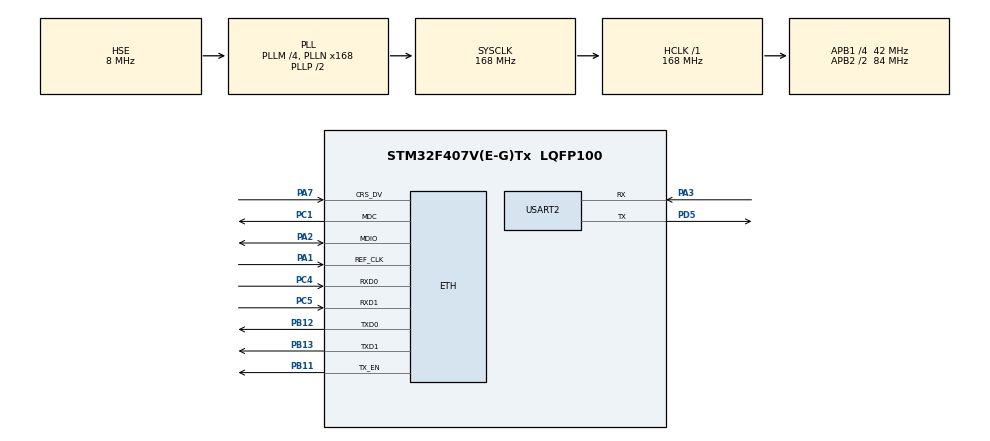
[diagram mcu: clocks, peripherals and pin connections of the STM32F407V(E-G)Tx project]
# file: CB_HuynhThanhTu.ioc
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ETH.MediaInterface=HAL_ETH_RMII_MODE
ETH.RxMode=ETH_RXINTERRUPT_MODE
FREERTOS.Tasks01=defaultTask,0,128,StartDefaultTask,Default,NULL,Dynamic,NULL,NULL
FREERTOS.configCHECK_FOR_STACK_OVERFLOW=2
FREERTOS.configENABLE_FPU=1
FREERTOS.configTOTAL_HEAP_SIZE=50000
LWIP.BSP.number=1
LWIP.CHECKSUM_BY_HARDWARE=0
LWIP.LWIP_DNS=1
LWIP.Version=v2.1.2_Cube
LWIP0.BSP.STBoard=false
LWIP0.BSP.api=BSP_COMPONENT_DRIVER
LWIP0.BSP.component=LAN8742
LWIP0.BSP.instance=LAN8742
LWIP0.BSP.name=Driver_PHY
LWIP0.BSP.semaphore=S_LAN8742
LWIP0.BSP.solution=LAN8742
Mcu.Family=STM32F4
Mcu.Name=STM32F407V(E-G)Tx
Mcu.Package=LQFP100
NVIC.ETH_IRQn=true\:5\:0\:false\:false\:true\:true\:false\:true\:true
NVIC.PriorityGroup=NVIC_PRIORITYGROUP_4
PA1.Mode=RMII
PA1.Signal=ETH_REF_CLK
PA13.Mode=Serial_Wire
PA13.Signal=SYS_JTMS-SWDIO
PA14.Mode=Serial_Wire
PA14.Signal=SYS_JTCK-SWCLK
PA2.Mode=RMII
PA2.Signal=ETH_MDIO
PA3.Mode=Asynchronous
PA3.Signal=USART2_RX
PA7.Mode=RMII
PA7.Signal=ETH_CRS_DV
PB11.Mode=RMII
PB11.Signal=ETH_TX_EN
PB12.Mode=RMII
PB12.Signal=ETH_TXD0
PB13.Mode=RMII
PB13.Signal=ETH_TXD1
PC1.Mode=RMII
PC1.Signal=ETH_MDC
PC4.Mode=RMII
PC4.Signal=ETH_RXD0
PC5.Mode=RMII
PC5.Signal=ETH_RXD1
PD5.Mode=Asynchronous
PD5.Signal=USART2_TX
PH0-OSC_IN.Mode=HSE-External-Oscillator
PH0-OSC_IN.Signal=RCC_OSC_IN
PH1-OSC_OUT.Mode=HSE-External-Oscillator
PH1-OSC_OUT.Signal=RCC_OSC_OUT
ProjectManager.HeapSize=0x200
ProjectManager.StackSize=0x400
ProjectManager.TargetToolchain=STM32CubeIDE
RCC.48MHZClocksFreq_Value=48000000
RCC.AHBFreq_Value=168000000
RCC.APB1CLKDivider=RCC_HCLK_DIV4
RCC.APB1Freq_Value=42000000
RCC.APB1TimFreq_Value=84000000
RCC.APB2CLKDivider=RCC_HCLK_DIV2
RCC.APB2Freq_Value=84000000
RCC.APB2TimFreq_Value=168000000
RCC.CortexFreq_Value=168000000
RCC.HCLKFreq_Value=168000000
RCC.HSE_VALUE=8000000
RCC.HSI_VALUE=16000000
RCC.LSE_VALUE=32768
RCC.PLLM=4
RCC.PLLN=168
RCC.PLLQ=7
RCC.PLLSourceVirtual=RCC_PLLSOURCE_HSE
RCC.SYSCLKFreq_VALUE=168000000
RCC.SYSCLKSource=RCC_SYSCLKSOURCE_PLLCLK
RCC.VCOOutputFreq_Value=336000000
USART2.VirtualMode=VM_ASYNC
VP_FREERTOS_VS_CMSIS_V1.Mode=CMSIS_V1
VP_LWIP_VS_Enabled.Mode=Enabled
VP_MBEDTLS_VS_MBEDTLS.Mode=Enabled
VP_RNG_VS_RNG.Mode=RNG_Activate
board=custom

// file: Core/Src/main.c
/* USER CODE BEGIN Header */
/**
  ******************************************************************************
  * @file           : main.c
  * @brief          : Main program body
  ******************************************************************************
  * @attention
  *
  * Copyright (c) 2025 STMicroelectronics.
  * All rights reserved.
  *
  * This software is licensed under terms that can be found in the LICENSE file
  * in the root directory of this software component.
  * If no LICENSE file comes with this software, it is provided AS-IS.
  *
  ******************************************************************************
  */
/* USER CODE END Header */
#include "main.h"
#include "cmsis_os.h"
#include "mbedtls.h"

/* USER CODE BEGIN Includes */
#include "stdio.h"
#include "string.h"
#include "config.h"
#include "mbedtls_config.h"
/* USER CODE END Includes */

RNG_HandleTypeDef hrng;

//TIM_HandleTypeDef htim6;

UART_HandleTypeDef huart2;

/* USER CODE BEGIN PV */
extern osThreadId defaultTaskHandle;
extern uint32_t MilliTimer;
/* USER CODE END PV */

void SystemClock_Config(void);
static void MX_GPIO_Init(void);
static void MX_RNG_Init(void);
static void MX_USART2_UART_Init(void);
//static void MX_TIM6_Init(void);
void StartDefaultTask(void const * argument);

/* USER CODE BEGIN PFP */
void MX_FREERTOS_Init(void);
/* USER CODE END PFP */

/* USER CODE BEGIN 0 */
int _write(int fd, char * ptr, int len) {
    	HAL_UART_Transmit(&huart2, (uint8_t *) ptr, len, HAL_MAX_DELAY);
return len;
}

/* USER CODE END 0 */

int main(void)
{

  /* MCU Configuration--------------------------------------------------------*/

  /* Reset of all peripherals, Initializes the Flash interface and the Systick. */
  HAL_Init();

  /* Configure the system clock */
  SystemClock_Config();

  /* Initialize all configured peripherals */
  MX_GPIO_Init();
  MX_RNG_Init();
  MX_USART2_UART_Init();
  //MX_TIM6_Init();
  /* Call PreOsInit function */
  MX_MBEDTLS_Init();
  /* USER CODE BEGIN 2 */
  printf("Don't remove this printf to prevent hard fault.\r\n");
  MX_FREERTOS_Init();
  osKernelStart();
  /* USER CODE END 2 */

  /* Create the thread(s) */
  /* definition and creation of defaultTask */
//  osThreadDef(defaultTask, StartDefaultTask, osPriorityNormal, 0, 2048);
//  defaultTaskHandle = osThreadCreate(osThread(defaultTask), NULL);

  /* Start scheduler */
 // osKernelStart();

  /* We should never get here as control is now taken by the scheduler */

  /* Infinite loop */
  while (1)
  {

  }
}

void SystemClock_Config(void)
{
  RCC_OscInitTypeDef RCC_OscInitStruct = {0};
  RCC_ClkInitTypeDef RCC_ClkInitStruct = {0};

  /** Configure the main internal regulator output voltage
  */
  __HAL_RCC_PWR_CLK_ENABLE();
  __HAL_PWR_VOLTAGESCALING_CONFIG(PWR_REGULATOR_VOLTAGE_SCALE1);

  /** Initializes the RCC Oscillators according to the specified parameters
  * in the RCC_OscInitTypeDef structure.
  */
  RCC_OscInitStruct.OscillatorType = RCC_OSCILLATORTYPE_HSE;
  RCC_OscInitStruct.HSEState = RCC_HSE_ON;
  RCC_OscInitStruct.PLL.PLLState = RCC_PLL_ON;
  RCC_OscInitStruct.PLL.PLLSource = RCC_PLLSOURCE_HSE;
  RCC_OscInitStruct.PLL.PLLM = 4;
  RCC_OscInitStruct.PLL.PLLN = 168;
  RCC_OscInitStruct.PLL.PLLP = RCC_PLLP_DIV2;
  RCC_OscInitStruct.PLL.PLLQ = 7;
  if (HAL_RCC_OscConfig(&RCC_OscInitStruct) != HAL_OK)
  {
    Error_Handler();
  }

  /** Initializes the CPU, AHB and APB buses clocks
  */
  RCC_ClkInitStruct.ClockType = RCC_CLOCKTYPE_HCLK|RCC_CLOCKTYPE_SYSCLK
                              |RCC_CLOCKTYPE_PCLK1|RCC_CLOCKTYPE_PCLK2;
  RCC_ClkInitStruct.SYSCLKSource = RCC_SYSCLKSOURCE_PLLCLK;
  RCC_ClkInitStruct.AHBCLKDivider = RCC_SYSCLK_DIV1;
  RCC_ClkInitStruct.APB1CLKDivider = RCC_HCLK_DIV4;
  RCC_ClkInitStruct.APB2CLKDivider = RCC_HCLK_DIV2;

  if (HAL_RCC_ClockConfig(&RCC_ClkInitStruct, FLASH_LATENCY_5) != HAL_OK)
  {
    Error_Handler();
  }
}

static void MX_RNG_Init(void)
{

  hrng.Instance = RNG;
  if (HAL_RNG_Init(&hrng) != HAL_OK)
  {
    Error_Handler();
  }

}

//static void MX_TIM6_Init(void)
//{
//
//  /* USER CODE BEGIN TIM6_Init 0 */
//
//  /* USER CODE END TIM6_Init 0 */
//
//  TIM_MasterConfigTypeDef sMasterConfig = {0};
//
//  /* USER CODE BEGIN TIM6_Init 1 */
//
//  /* USER CODE END TIM6_Init 1 */
//  htim6.Instance = TIM6;
//  htim6.Init.Prescaler = 0;
//  htim6.Init.CounterMode = TIM_COUNTERMODE_UP;
//  htim6.Init.Period = 65535;
//  htim6.Init.AutoReloadPreload = TIM_AUTORELOAD_PRELOAD_DISABLE;
//  if (HAL_TIM_Base_Init(&htim6) != HAL_OK)
//  {
//    Error_Handler();
//  }
//  sMasterConfig.MasterOutputTrigger = TIM_TRGO_RESET;
//  sMasterConfig.MasterSlaveMode = TIM_MASTERSLAVEMODE_DISABLE;
//  if (HAL_TIMEx_MasterConfigSynchronization(&htim6, &sMasterConfig) != HAL_OK)
//  {
//    Error_Handler();
//  }
//  /* USER CODE BEGIN TIM6_Init 2 */
//
//  /* USER CODE END TIM6_Init 2 */
//
//}

static void MX_USART2_UART_Init(void)
{

  huart2.Instance = USART2;
  huart2.Init.BaudRate = 115200;
  huart2.Init.WordLength = UART_WORDLENGTH_8B;
  huart2.Init.StopBits = UART_STOPBITS_1;
  huart2.Init.Parity = UART_PARITY_NONE;
  huart2.Init.Mode = UART_MODE_TX_RX;
  huart2.Init.HwFlowCtl = UART_HWCONTROL_NONE;
  huart2.Init.OverSampling = UART_OVERSAMPLING_16;
  if (HAL_UART_Init(&huart2) != HAL_OK)
  {
    Error_Handler();
  }

}

static void MX_GPIO_Init(void)
{

  /* GPIO Ports Clock Enable */
  __HAL_RCC_GPIOH_CLK_ENABLE();
  __HAL_RCC_GPIOC_CLK_ENABLE();
  __HAL_RCC_GPIOA_CLK_ENABLE();
  __HAL_RCC_GPIOB_CLK_ENABLE();
  __HAL_RCC_GPIOD_CLK_ENABLE();

}

/* USER CODE BEGIN 4 */

/* USER CODE BEGIN Callback 1 */

/* USER CODE END 4 */

void Error_Handler(void)
{
  __disable_irq();
  while (1)
  {
  }
}

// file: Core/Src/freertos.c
/* USER CODE BEGIN Header */
/**
  ******************************************************************************
  * File Name          : freertos.c
  * Description        : Code for freertos applications
  ******************************************************************************
  * @attention
  *
  * Copyright (c) 2025 STMicroelectronics.
  * All rights reserved.
  *
  * This software is licensed under terms that can be found in the LICENSE file
  * in the root directory of this software component.
  * If no LICENSE file comes with this software, it is provided AS-IS.
  *
  ******************************************************************************
  */
/* USER CODE END Header */

#include "FreeRTOS.h"
#include "task.h"
#include "main.h"

/* USER CODE BEGIN Includes */
#include "cmsis_os.h"
#include "lwip.h"
#include "lwip/api.h"
#include "mqtt_task.h"

#include "mbedtls_config.h"
#include "mqttinterface.h"
#include "mbedtls/error.h"

#include "config.h"

/* USER CODE END Includes */

/* USER CODE BEGIN Variables */
extern struct netif gnetif;

 osThreadId mqttClientSubTaskHandle;  //mqtt client task handle
 osThreadId mqttClientPubTaskHandle;  //mqtt client task handle
 osThreadId defaultTaskHandle;
/* USER CODE END Variables */

/* USER CODE BEGIN FunctionPrototypes */
void MqttClientSubTask(void const *argument); //mqtt client subscribe task function
void MqttClientPubTask(void const *argument); //mqtt client publish task function
int  MqttConnectBroker(void); 				//mqtt broker connect function
void MqttMessageArrived(MessageData* msg); //mqtt message callback function

void StartDefaultTask(void const * argument);
extern void MX_LWIP_Init(void);
void MX_FREERTOS_Init(void);
/* USER CODE END FunctionPrototypes */

/* GetIdleTaskMemory prototype (linked to static allocation support) */
void vApplicationGetIdleTaskMemory( StaticTask_t **ppxIdleTaskTCBBuffer, StackType_t **ppxIdleTaskStackBuffer, uint32_t *pulIdleTaskStackSize );

/* Hook prototypes */
void vApplicationStackOverflowHook(xTaskHandle xTask, signed char *pcTaskName);

/* USER CODE BEGIN 4 */
__weak void vApplicationStackOverflowHook(xTaskHandle xTask, signed char *pcTaskName)
{
   /* Run time stack overflow checking is performed if
   configCHECK_FOR_STACK_OVERFLOW is defined to 1 or 2. This hook function is
   called if a stack overflow is detected. */
}
/* USER CODE END 4 */

/* USER CODE BEGIN GET_IDLE_TASK_MEMORY */
static StaticTask_t xIdleTaskTCBBuffer;
static StackType_t xIdleStack[configMINIMAL_STACK_SIZE];

void vApplicationGetIdleTaskMemory( StaticTask_t **ppxIdleTaskTCBBuffer, StackType_t **ppxIdleTaskStackBuffer, uint32_t *pulIdleTaskStackSize )
	{
	  *ppxIdleTaskTCBBuffer = &xIdleTaskTCBBuffer;
	  *ppxIdleTaskStackBuffer = &xIdleStack[0];
	  *pulIdleTaskStackSize = configMINIMAL_STACK_SIZE;
	  /* place for user code */
	}
void MX_FREERTOS_Init(void)
	{

		osThreadDef(defaultTask, StartDefaultTask, osPriorityNormal, 0, 1024);
		defaultTaskHandle = osThreadCreate(osThread(defaultTask), NULL);

	}

void StartDefaultTask(void const * argument)
{
	MX_LWIP_Init();
	while(1)
		{
			//waiting for valid ip address
			if (gnetif.ip_addr.addr == 0 || gnetif.netmask.addr == 0 || gnetif.gw.addr == 0) //system has no valid ip address
			{
				printf("Waiting for IP... \n");
				osDelay(1000);
				continue;
			}
			else
			{
				printf("Got IP: %s\n", ip4addr_ntoa(&gnetif.ip_addr));
				printf("DHCP/Static IP O.K.\n");
				break;
			}

		}
	mbedtls_x509_crt_init(&cacert);

//	for (int i = 0; i < strlen(mbedtls_root_certificate); i++)
//	{
//	    printf("%02X ", mbedtls_root_certificate[i]);
//	}
	int ret = mbedtls_x509_crt_parse(&cacert, (const unsigned char *)mbedtls_root_certificate, strlen(mbedtls_root_certificate) + 1);
	if (ret != 0)
	{
		char err_buf[100];
		mbedtls_strerror(ret, err_buf, sizeof(err_buf));
		printf("�?� CA load failed: -0x%04X: %s\n", -ret, err_buf);
	}

	else
	{
	    printf("✅ CA loaded successfully!\n");

	}

	 osThreadDef(mqttClientSubTask, MqttClientSubTask, osPriorityNormal, 0, configMINIMAL_STACK_SIZE*4);
	 mqttClientSubTaskHandle = osThreadCreate(osThread(mqttClientSubTask), NULL);

	 osThreadDef(mqttClientPubTask, MqttClientPubTask, osPriorityNormal, 0, configMINIMAL_STACK_SIZE*4);
	 mqttClientPubTaskHandle = osThreadCreate(osThread(mqttClientPubTask), NULL);
//	 if (mqttClientSubTaskHandle == NULL)
//	 {
//	     printf("�?� Failed to create mqttClientSubTask\r\n");
//	 }
//	 else
//	 {
//	     printf("✅ mqttClientSubTask created\r\n");
//	 }
	 while(1)
	    {
	        osDelay(1000);  // Không làm gì, chỉ sống
	    }

}

/* USER CODE END GET_IDLE_TASK_MEMORY */
